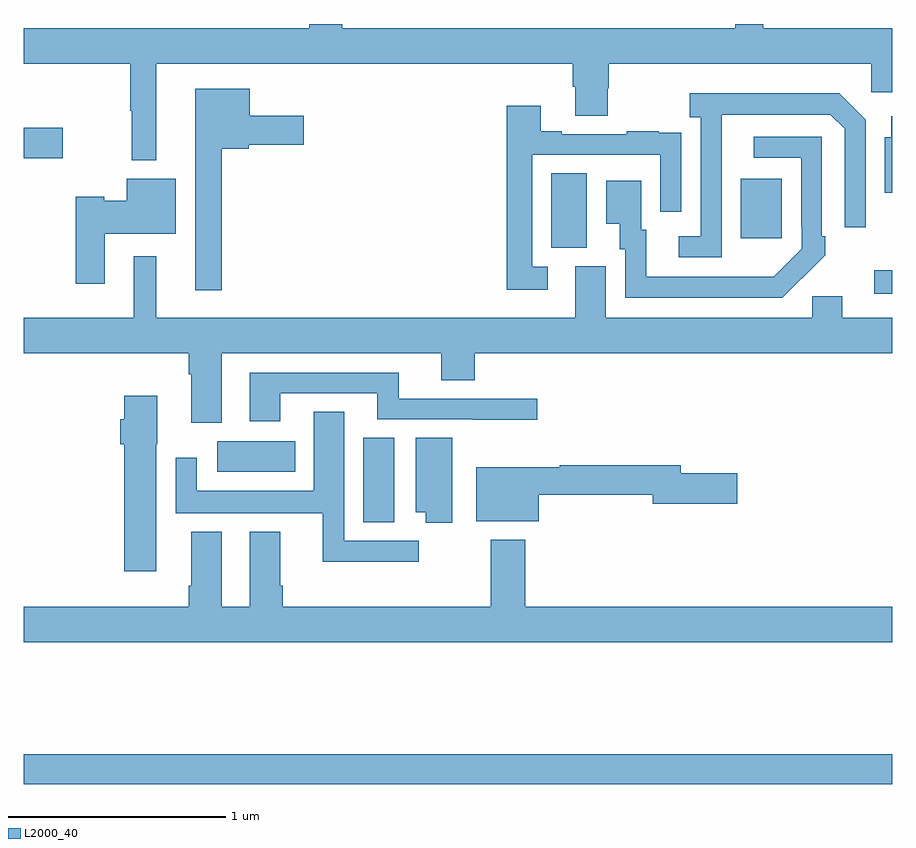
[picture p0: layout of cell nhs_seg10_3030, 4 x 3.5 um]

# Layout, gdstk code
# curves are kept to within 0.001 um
import gdstk
lib = gdstk.Library(unit=1e-6, precision=1e-09)
def R(c, l, rs):  # rectangles x0, y0, x1, y1
    for r in rs: c.add(gdstk.rectangle(r[:2], r[2:], *l))
def P(c, l, *ps):  # polygons
    for p in ps: c.add(gdstk.Polygon(p, *l))
L2000_40 = (2000, 40)

nhs_seg10_3030 = lib.new_cell('nhs_seg10_3030')
R(nhs_seg10_3030, L2000_40, [(275,1297,279,1297.136), (276.563,1298.206,276.706,1298.594), (275.892,1298.438,276.25,1298.578), (278.916,1299.258,279,1299.367), (277.43,1299.469,277.594,1299.812), (278.303,1299.513,278.491,1299.787), (275,1299.881,275.179,1300.023)])
P(nhs_seg10_3030, L2000_40, [(278.904,1300.185),(279,1300.185),(279,1300.48),(278.405,1300.48),(278.405,1300.5),(278.277,1300.5),(278.277,1300.48),(276.467,1300.48),(276.467,1300.5),(276.314,1300.5),(276.314,1300.48),(275,1300.48),(275,1300.316),(275.49,1300.316),(275.49,1300.1),(275.497,1300.1),(275.497,1299.872),(275.611,1299.872),(275.611,1300.316),(277.529,1300.316),(277.529,1300.21),(277.541,1300.21),(277.541,1300.078),(277.689,1300.078),(277.689,1300.203),(277.694,1300.203),(277.694,1300.316),(278.904,1300.316)],
  [(275.911,1299.926),(276.036,1299.926),(276.036,1299.944),(276.289,1299.944),(276.289,1300.078),(276.04,1300.078),(276.04,1300.201),(275.789,1300.201),(275.789,1299.273),(275.911,1299.273)],
  [(278.214,1299.883),(278.215,1300.083),(278.715,1300.083),(278.781,1300.017),(278.781,1299.564),(278.877,1299.564),(278.877,1300.059),(278.756,1300.18),(278.067,1300.18),(278.067,1300.07),(278.118,1300.07),(278.118,1299.522),(278.016,1299.522),(278.016,1299.426),(278.214,1299.426)],
  [(277.414,1299.381),(277.341,1299.381),(277.341,1299.897),(277.932,1299.897),(277.932,1299.636),(278.028,1299.636),(278.028,1299.89),(278.027,1299.89),(278.027,1299.999),(277.925,1299.999),(277.925,1300.006),(277.777,1300.006),(277.777,1299.993),(277.477,1299.993),(277.477,1300.006),(277.381,1300.006),(277.381,1300.123),(277.225,1300.123),(277.225,1299.276),(277.414,1299.276)],
  [(279,1300.075),(278.996,1300.075),(278.996,1299.979),(278.966,1299.979),(278.966,1299.722),(279,1299.722)],
  [(278.585,1299.331),(278.586,1299.33),(278.691,1299.435),(278.691,1299.523),(278.676,1299.523),(278.676,1299.981),(278.361,1299.981),(278.361,1299.885),(278.58,1299.885),(278.58,1299.565),(278.583,1299.565),(278.583,1299.465),(278.455,1299.337),(277.867,1299.336),(277.867,1299.552),(277.843,1299.552),(277.843,1299.778),(277.682,1299.778),(277.682,1299.581),(277.745,1299.581),(277.745,1299.462),(277.77,1299.462),(277.77,1299.24),(278.494,1299.24)],
  [(275.374,1299.533),(275.701,1299.533),(275.701,1299.787),(275.474,1299.787),(275.474,1299.686),(275.37,1299.686),(275.37,1299.704),(275.24,1299.704),(275.24,1299.303),(275.374,1299.303)],
  [(275.911,1298.984),(276.923,1298.984),(276.923,1298.86),(277.076,1298.86),(277.076,1298.984),(279,1298.984),(279,1299.148),(278.77,1299.148),(278.77,1299.246),(278.631,1299.246),(278.631,1299.148),(277.681,1299.148),(277.681,1299.384),(277.541,1299.384),(277.541,1299.148),(275.611,1299.148),(275.611,1299.43),(275.507,1299.43),(275.507,1299.148),(275,1299.148),(275,1298.984),(275.759,1298.984),(275.759,1298.888),(275.771,1298.888),(275.771,1298.664),(275.911,1298.664)],
  [(276.181,1298.799),(276.629,1298.799),(276.629,1298.679),(277.069,1298.679),(277.069,1298.677),(277.366,1298.677),(277.366,1298.775),(276.728,1298.775),(276.728,1298.895),(276.041,1298.895),(276.041,1298.67),(276.181,1298.67)],
  [(275.611,1298.565),(275.614,1298.565),(275.614,1298.788),(275.462,1298.788),(275.462,1298.679),(275.444,1298.679),(275.444,1298.565),(275.462,1298.565),(275.462,1297.98),(275.611,1297.98)],
  [(276.82,1298.121),(276.475,1298.121),(276.475,1298.714),(276.335,1298.714),(276.335,1298.35),(275.796,1298.35),(275.796,1298.503),(275.7,1298.503),(275.7,1298.246),(276.377,1298.246),(276.377,1298.024),(276.82,1298.024)],
  [(276.973,1298.594),(276.806,1298.594),(276.806,1298.252),(276.851,1298.252),(276.851,1298.202),(276.973,1298.202)],
  [(277.372,1298.332),(277.898,1298.332),(277.898,1298.29),(278.287,1298.29),(278.287,1298.432),(278.026,1298.432),(278.026,1298.468),(277.468,1298.468),(277.468,1298.458),(277.085,1298.458),(277.085,1298.21),(277.372,1298.21)],
  [(279,1297.816),(277.31,1297.816),(277.31,1298.125),(277.15,1298.125),(277.15,1297.816),(276.194,1297.816),(276.194,1297.912),(276.181,1297.912),(276.181,1298.161),(276.041,1298.161),(276.041,1297.816),(275.911,1297.816),(275.911,1298.161),(275.771,1298.161),(275.771,1297.912),(275.759,1297.912),(275.759,1297.816),(275,1297.816),(275,1297.652),(279,1297.652)])

lib.write_gds('nhs_seg10_3030.gds')
